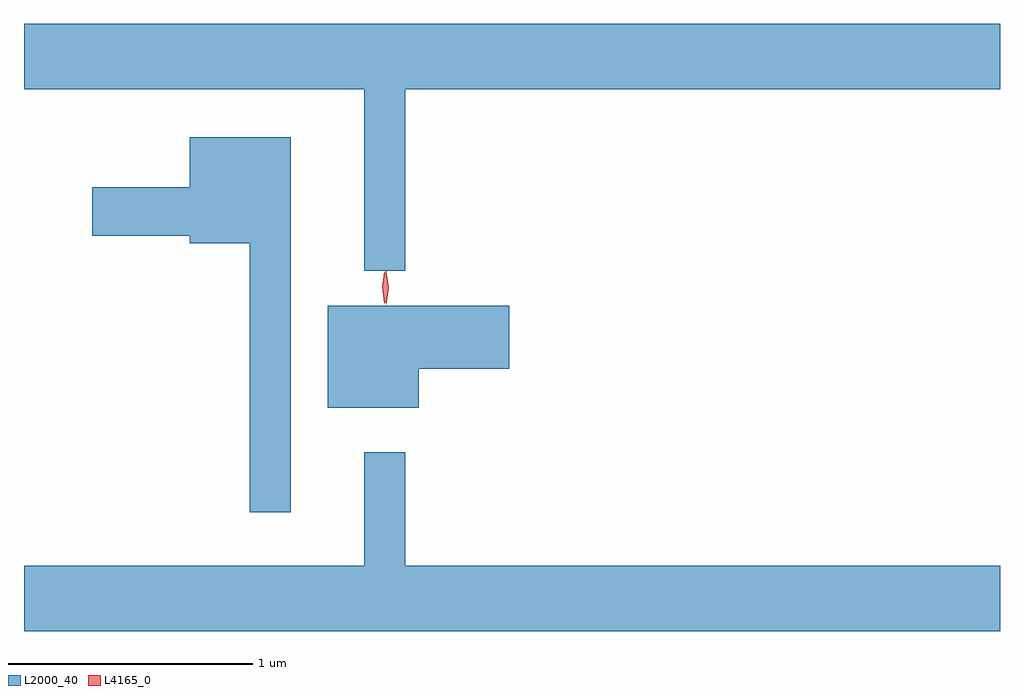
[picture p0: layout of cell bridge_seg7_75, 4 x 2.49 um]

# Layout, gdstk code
import gdstk
lib = gdstk.Library(unit=1e-6, precision=1e-09)
def P(c, l, *ps):  # polygons
    for p in ps: c.add(gdstk.Polygon(p, *l))
L2000_40 = (2000, 40)
L4165_0 = (4165, 0)

bridge_seg7_75 = lib.new_cell('bridge_seg7_75')
P(bridge_seg7_75, L2000_40, [(1528.939,1776.476),(1531.376,1776.476),(1531.376,1776.744),(1527.376,1776.744),(1527.376,1776.476),(1528.771,1776.476),(1528.771,1775.733),(1528.939,1775.733)],
  [(1528.469,1776.279),(1528.056,1776.279),(1528.056,1776.074),(1527.656,1776.074),(1527.656,1775.876),(1528.056,1775.876),(1528.056,1775.846),(1528.301,1775.846),(1528.301,1774.743),(1528.469,1774.743)],
  [(1528.994,1775.331),(1529.364,1775.331),(1529.364,1775.589),(1528.621,1775.589),(1528.621,1775.171),(1528.994,1775.171)],
  [(1531.376,1774.524),(1528.939,1774.524),(1528.939,1774.988),(1528.771,1774.988),(1528.771,1774.524),(1527.376,1774.524),(1527.376,1774.256),(1531.376,1774.256)])
P(bridge_seg7_75, L4165_0, [(1528.86,1775.594),(1528.85,1775.662),(1528.859,1775.73),(1528.86,1775.73),(1528.86,1775.73),(1528.87,1775.662),(1528.861,1775.594),(1528.861,1775.594)],
  [(1528.853,1775.6),(1528.844,1775.664),(1528.853,1775.726),(1528.854,1775.727),(1528.854,1775.726),(1528.864,1775.664),(1528.854,1775.6),(1528.854,1775.6)])

lib.write_gds('bridge_seg7_75.gds')
